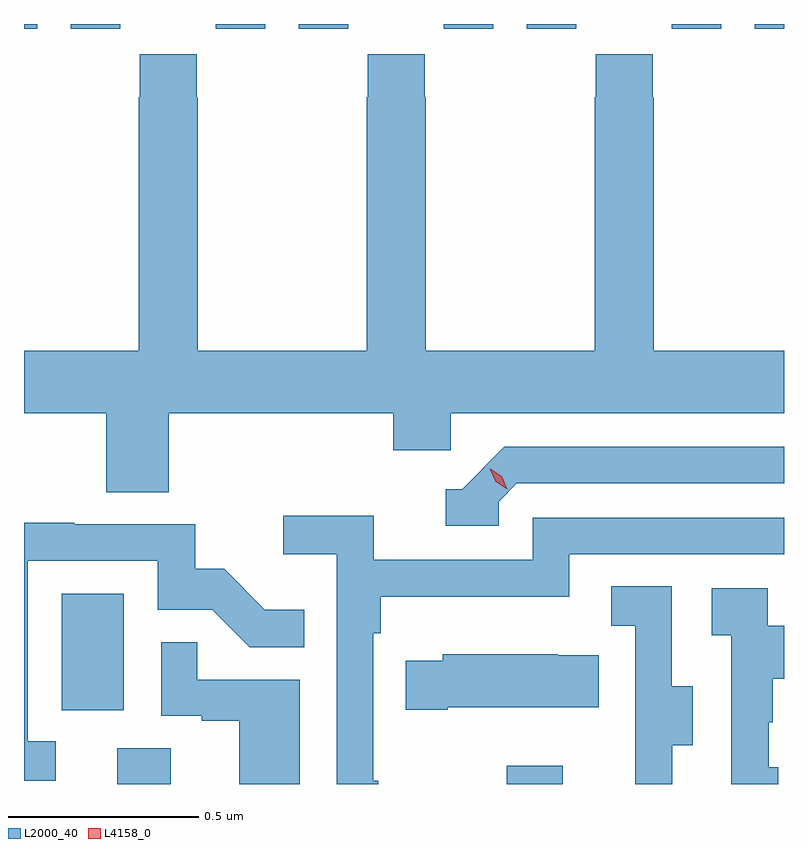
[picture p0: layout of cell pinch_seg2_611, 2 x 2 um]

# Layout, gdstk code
import gdstk
lib = gdstk.Library(unit=1e-6, precision=1e-09)
def R(c, l, rs):  # rectangles x0, y0, x1, y1
    for r in rs: c.add(gdstk.rectangle(r[:2], r[2:], *l))
def P(c, l, *ps):  # polygons
    for p in ps: c.add(gdstk.Polygon(p, *l))
L2000_40 = (2000, 40)
L4158_0 = (4158, 0)

pinch_seg2_611 = lib.new_cell('pinch_seg2_611')
R(pinch_seg2_611, L2000_40, [(1079.219,622.684,1079.359,622.778), (1080.244,622.684,1080.391,622.732), (1079.072,622.878,1079.236,623.185), (1078.973,624.672,1079.008,624.684), (1079.096,624.672,1079.226,624.684), (1079.478,624.672,1079.608,624.684), (1079.696,624.672,1079.826,624.684), (1080.078,624.672,1080.208,624.684), (1080.296,624.672,1080.426,624.684), (1080.678,624.672,1080.808,624.684), (1080.896,624.672,1080.973,624.684)])
P(pinch_seg2_611, L2000_40, [(1079.354,623.66),(1079.945,623.66),(1079.945,623.562),(1080.096,623.562),(1080.096,623.66),(1080.973,623.66),(1080.973,623.824),(1080.63,623.824),(1080.63,624.491),(1080.627,624.491),(1080.627,624.604),(1080.477,624.604),(1080.477,624.491),(1080.475,624.491),(1080.475,623.824),(1080.03,623.824),(1080.03,624.491),(1080.027,624.491),(1080.027,624.604),(1079.877,624.604),(1079.877,624.491),(1079.875,624.491),(1079.875,623.824),(1079.43,623.824),(1079.43,624.491),(1079.427,624.491),(1079.427,624.604),(1079.277,624.604),(1079.277,624.491),(1079.275,624.491),(1079.275,623.824),(1078.973,623.824),(1078.973,623.66),(1079.189,623.66),(1079.189,623.452),(1079.354,623.452)],
  [(1080.222,623.427),(1080.27,623.475),(1080.973,623.475),(1080.973,623.571),(1080.237,623.571),(1080.126,623.46),(1080.083,623.46),(1080.083,623.364),(1080.222,623.364)],
  [(1079.905,622.693),(1079.892,622.693),(1079.892,623.081),(1079.912,623.081),(1079.912,623.177),(1080.408,623.177),(1080.408,623.289),(1080.972,623.289),(1080.973,623.288),(1080.973,623.385),(1080.312,623.385),(1080.312,623.274),(1079.894,623.274),(1079.894,623.39),(1079.655,623.39),(1079.655,623.288),(1079.796,623.288),(1079.796,622.684),(1079.905,622.684)],
  [(1079.056,622.797),(1078.983,622.797),(1078.983,623.271),(1079.325,623.271),(1079.325,623.142),(1079.469,623.142),(1079.567,623.044),(1079.711,623.044),(1079.711,623.143),(1079.607,623.143),(1079.5,623.25),(1079.424,623.25),(1079.424,623.367),(1079.105,623.367),(1079.105,623.372),(1078.973,623.372),(1078.973,622.692),(1079.056,622.692)],
  [(1080.679,622.786),(1080.733,622.786),(1080.733,622.941),(1080.678,622.941),(1080.678,623.204),(1080.519,623.204),(1080.519,623.101),(1080.582,623.101),(1080.582,622.797),(1080.581,622.797),(1080.581,622.684),(1080.679,622.684)],
  [(1080.958,622.728),(1080.933,622.728),(1080.933,622.847),(1080.943,622.847),(1080.943,622.961),(1080.973,622.961),(1080.973,623.101),(1080.93,623.101),(1080.93,623.199),(1080.783,623.199),(1080.783,623.075),(1080.834,623.075),(1080.834,622.684),(1080.958,622.684)],
  [(1079.698,622.959),(1079.429,622.959),(1079.429,623.057),(1079.334,623.057),(1079.334,622.863),(1079.441,622.863),(1079.441,622.851),(1079.54,622.851),(1079.54,622.684),(1079.698,622.684)],
  [(1080.088,622.886),(1080.485,622.886),(1080.485,623.023),(1080.377,623.023),(1080.377,623.026),(1080.075,623.026),(1080.075,623.008),(1079.977,623.008),(1079.977,622.879),(1080.088,622.879)])
P(pinch_seg2_611, L4158_0, [(1080.245,623.46),(1080.215,623.48),(1080.199,623.513),(1080.199,623.514),(1080.2,623.514),(1080.23,623.494),(1080.245,623.46),(1080.245,623.46)])

lib.write_gds('pinch_seg2_611.gds')
